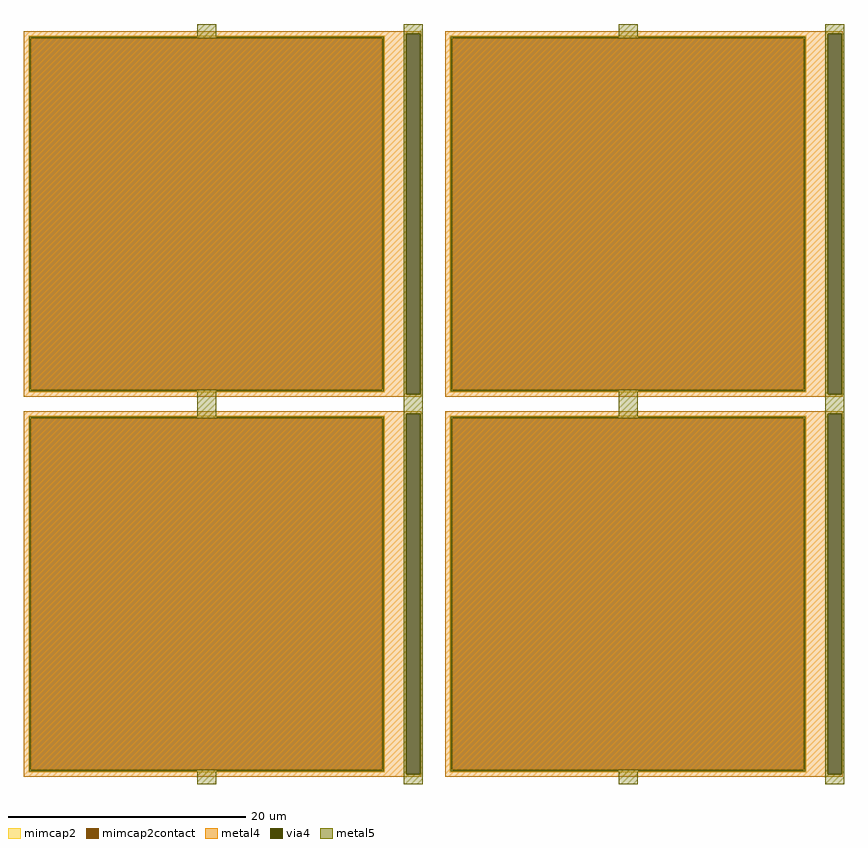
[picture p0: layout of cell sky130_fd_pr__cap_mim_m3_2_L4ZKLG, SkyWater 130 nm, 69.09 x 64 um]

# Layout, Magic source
magic
tech sky130B
magscale 1 2
<< metal4 >>
rect -6898 6239 -200 6280
rect -6898 161 -456 6239
rect -220 161 -200 6239
rect -6898 120 -200 161
rect 200 6239 6898 6280
rect 200 161 6642 6239
rect 6878 161 6898 6239
rect 200 120 6898 161
rect -6898 -161 -200 -120
rect -6898 -6239 -456 -161
rect -220 -6239 -200 -161
rect -6898 -6280 -200 -6239
rect 200 -161 6898 -120
rect 200 -6239 6642 -161
rect 6878 -6239 6898 -161
rect 200 -6280 6898 -6239
<< via4 >>
rect -456 161 -220 6239
rect 6642 161 6878 6239
rect -456 -6239 -220 -161
rect 6642 -6239 6878 -161
<< mimcap2 >>
rect -6818 6160 -818 6200
rect -6818 240 -6778 6160
rect -858 240 -818 6160
rect -6818 200 -818 240
rect 280 6160 6280 6200
rect 280 240 320 6160
rect 6240 240 6280 6160
rect 280 200 6280 240
rect -6818 -240 -818 -200
rect -6818 -6160 -6778 -240
rect -858 -6160 -818 -240
rect -6818 -6200 -818 -6160
rect 280 -240 6280 -200
rect 280 -6160 320 -240
rect 6240 -6160 6280 -240
rect 280 -6200 6280 -6160
<< mimcap2contact >>
rect -6778 240 -858 6160
rect 320 240 6240 6160
rect -6778 -6160 -858 -240
rect 320 -6160 6240 -240
<< metal5 >>
rect -3978 6184 -3658 6400
rect -498 6239 -178 6400
rect -6802 6160 -834 6184
rect -6802 240 -6778 6160
rect -858 240 -834 6160
rect -6802 216 -834 240
rect -3978 -216 -3658 216
rect -498 161 -456 6239
rect -220 161 -178 6239
rect 3120 6184 3440 6400
rect 6600 6239 6920 6400
rect 296 6160 6264 6184
rect 296 240 320 6160
rect 6240 240 6264 6160
rect 296 216 6264 240
rect -498 -161 -178 161
rect -6802 -240 -834 -216
rect -6802 -6160 -6778 -240
rect -858 -6160 -834 -240
rect -6802 -6184 -834 -6160
rect -3978 -6400 -3658 -6184
rect -498 -6239 -456 -161
rect -220 -6239 -178 -161
rect 3120 -216 3440 216
rect 6600 161 6642 6239
rect 6878 161 6920 6239
rect 6600 -161 6920 161
rect 296 -240 6264 -216
rect 296 -6160 320 -240
rect 6240 -6160 6264 -240
rect 296 -6184 6264 -6160
rect -498 -6400 -178 -6239
rect 3120 -6400 3440 -6184
rect 6600 -6239 6642 -161
rect 6878 -6239 6920 -161
rect 6600 -6400 6920 -6239
<< properties >>
string FIXED_BBOX 200 120 6360 6280
string gencell sky130_fd_pr__cap_mim_m3_2
string library sky130
string parameters w 30 l 30 val 1.822k carea 2.00 cperi 0.19 nx 2 ny 2 dummy 0 square 0 lmin 2.00 wmin 2.00 lmax 30.0 wmax 30.0 dc 0 bconnect 1 tconnect 1 ccov 100
<< end >>
